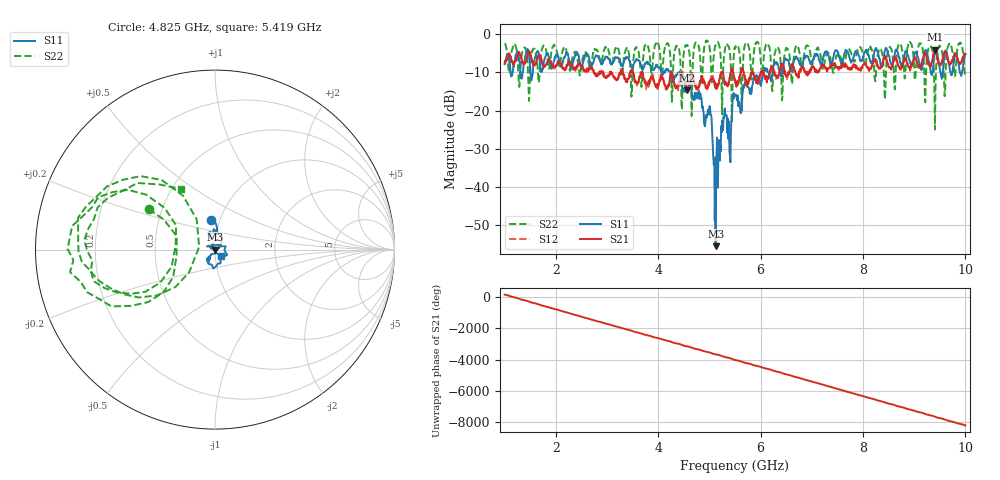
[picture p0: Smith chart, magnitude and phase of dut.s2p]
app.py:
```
import dash
import dash_core_components as dcc
import dash_html_components as html
from dash.dependencies import Input, Output, State
import plotly.graph_objects as go
import numpy as np


import skrf as rf
from skrf.time import detect_span


external_stylesheets = [
    "https://stackpath.bootstrapcdn.com/bootstrap/4.3.1/css/bootstrap.min.css",
    "https://codepen.io/chriddyp/pen/bWLwgP.css",
]

app = dash.Dash(__name__, external_stylesheets=external_stylesheets)
server = app.server


""" FYI  The device under test was made with this

air = rf.air
air.npoints =1001
dut = air.shunt_delay_load(.2,180)**\
    air.line(100)**\
    air.shunt_delay_load(.4,100)**\
    air.line(4000)**\
    air.shunt(air.load(.7))**\
    air.line(1000)**\
    air.impedance_mismatch(1,3)
    #**air.short()
dut.add_noise_polar(.01,3e-5)
"""
dut = rf.Network("dut.s2p")


# pull out some frequency info to set slider bounds on center/span
freq = dut.frequency
dt = freq.t_ns[1] - freq.t_ns[0]
t_max = freq.t_ns.max()


######## ## the APP
app.layout = html.Div(
    className="page",
    children=[
        html.Div(
            className="sub_page",
            children=[
                # html.Div(className='col-2'),
                html.Div(
                    children=[
                        html.H3(
                            className="product",
                            children=[
                                "Time Gating",
                                html.A(
                                    href="http://www.plotly.com",
                                    children=[
                                        html.Img(
                                            src=app.get_asset_url("dash.png"),
                                            style={"height": "50px", "float": "right"},
                                        )
                                    ],
                                ),
                                html.A(
                                    href="http://www.scikit-rf.org",
                                    children=[
                                        html.Img(
                                            src=app.get_asset_url(
                                                "powered_by_skrf.png"
                                            ),
                                            style={"height": "50px", "float": "right"},
                                        ),
                                    ],
                                ),
                            ],
                        ),
                        html.Div(
                            className="row",
                            children=[
                                html.Div(
                                    className="col-4",
                                    children=[
                                        html.Span(
                                            children=[
                                                html.Label(
                                                    "S-parameter: ", className="inline"
                                                ),
                                                dcc.RadioItems(
                                                    id="sparam-radio",
                                                    options=[
                                                        {
                                                            "label": "S11",
                                                            "value": "s11",
                                                        },
                                                        {
                                                            "label": "S21",
                                                            "value": "s21",
                                                        },
                                                        {
                                                            "label": "S12",
                                                            "value": "s12",
                                                        },
                                                        {
                                                            "label": "S22",
                                                            "value": "s22",
                                                        },
                                                    ],
                                                    value="s11",
                                                    labelStyle={
                                                        "display": "inline-block",
                                                        "margin": "6px",
                                                    },
                                                ),
                                            ]
                                        ),
                                        html.Label("Window Type: "),
                                        dcc.Dropdown(
                                            id="window-dropdown",
                                            options=[
                                                {"label": "kaiser", "value": "kaiser"},
                                                {"label": "boxcar", "value": "boxcar"},
                                                {
                                                    "label": "hamming",
                                                    "value": "hamming",
                                                },
                                            ],
                                            value="hamming",
                                        ),
                                        html.Label("Mode:  ", className="inline"),
                                        dcc.RadioItems(
                                            className="inline",
                                            id="mode-radio",
                                            options=[
                                                {"label": "pass", "value": "bandpass"},
                                                {"label": "stop", "value": "bandstop"},
                                            ],
                                            value="bandpass",
                                            labelStyle={
                                                "display": "inline-block",
                                                "margin": "6px",
                                            },
                                        ),
                                    ],
                                ),
                                html.Div(
                                    className="col",
                                    children=[
                                        html.Button(
                                            id="autogate-button", children="AutoGate"
                                        ),
                                        html.Label("Center Frequency(ns)"),
                                        dcc.Slider(
                                            id="center-slider",
                                            min=-t_max,
                                            max=t_max,
                                            value=0,
                                            step=dt * 10,
                                            marks={
                                                str(int(x)): str(int(x))
                                                for x in np.linspace(-t_max, t_max, 13)
                                            },
                                        ),
                                        html.Label("Span Frequency(ns)"),
                                        dcc.Slider(
                                            id="span-slider",
                                            min=0,
                                            max=t_max,
                                            value=10,
                                            step=dt * 10,
                                            marks={
                                                str(int(x)): str(int(x))
                                                for x in np.linspace(-t_max, t_max, 13)
                                            },
                                        ),
                                    ],
                                ),
                            ],
                        ),
                        html.Div(
                            [
                                dcc.Graph(
                                    id="time-graph", figure={"layout": {"height": 300}}
                                ),
                                dcc.Graph(
                                    id="freq-graph", figure={"layout": {"height": 400}}
                                ),
                            ]
                        ),
                    ]
                ),
            ],
        )
    ],
)


@app.callback(
    Output("time-graph", "figure"),
    Output("freq-graph", "figure"),
    Input("sparam-radio", "value"),
    Input("center-slider", "value"),
    Input("span-slider", "value"),
    Input("window-dropdown", "value"),
    Input("mode-radio", "value"),
)
def update_figure(sparam, center, span, window, mode):
    """
    Update figures given a change in s-parameter of interest, or
    gate parameters
    """

    if window == "kaiser":
        window = ("kaiser", 6)
    oneport = dut.__getattribute__(sparam)
    gated = oneport.time_gate(center=center, span=span, window=window, mode=mode)

    # time
    time_fig = go.Figure()
    time_fig.add_trace(
        go.Line(
            x=freq.t_ns, y=oneport.s_time_db.flatten(), line_color="#204a87", name="OG"
        )
    )

    time_fig.add_trace(go.Line(x=freq.t_ns, y=gated.s_time_db.flatten(), name="gated"))
    dat = oneport.s_time_db.flatten()
    span_height = (dat.min() * 1.5, dat.max() * 0.5)
    time_fig.update_layout(
        shapes=[
            dict(
                type="rect",
                xref="x",
                yref="y",
                x0=center - span / 2,
                y0=span_height[0],
                x1=center + span / 2,
                y1=span_height[1],
                fillcolor="lightgray",
                opacity=0.8,
                line_width=0,
                layer="below",
            )
        ]
    )

    time_fig.update_layout(
        legend=dict(yanchor="top", y=0.99, xanchor="left", x=0.01),
        margin=dict(l=20, r=20, t=40, b=20),
        title="Time Domain",
        xaxis_title="Time (ns)",
        yaxis_title="Magnitude (dB)",
        yaxis_range=(-80, 0),
    )

    # frequency
    freq_fig = go.Figure()
    freq_fig.add_trace(
        go.Line(
            x=freq.f_scaled, y=oneport.s_db.flatten(), name="OG", line_color="#204a87"
        )
    )

    freq_fig.add_trace(go.Line(x=freq.f_scaled, y=gated.s_db.flatten(), name="gated"))

    freq_fig.update_layout(
        legend=dict(yanchor="top", y=0.99, xanchor="left", x=0.01),
        margin=dict(l=20, r=20, t=40, b=20),
        title="Frequency",
        xaxis_title="Frequency (%s)" % dut.frequency.unit,
        yaxis_title="Magnitude (dB)",
        yaxis_range=(-60, 10),
    )
    return time_fig, freq_fig


@app.callback(
    Output("center-slider", "value"),
    Output("span-slider", "value"),
    Input("autogate-button", "n_clicks"),
    Input("sparam-radio", "value"),
)
def autogate(autogate, sparam):
    """
    Autogate chooses center/span values based on basic peak search
    """
    oneport = dut.__getattribute__(sparam)
    n = oneport.s_time_mag.argmax()
    center = oneport.frequency.t_ns[n]
    span = detect_span(oneport)
    return center, span


if __name__ == "__main__":
    app.run_server(debug=True)
```
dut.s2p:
!Created with skrf (http://scikit-rf.org).
# GHz S RI R 376.73031366686166
!freq ReS11 ImS11 ReS21 ImS21 ReS12 ImS12 ReS22 ImS22
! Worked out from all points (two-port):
!   1001 points, 1 GHz to 10 GHz, reference 376.73 ohm
!   highest |S21| = -4.08 dB at 9.406 GHz (marker M1); lowest = -14.8 dB at 4.564 GHz (marker M2)
!   |S21| within 3 dB of the highest: 1.212 GHz to 1.338 GHz (126.4 MHz wide, 9.91 % of centre); 9.351 GHz to 9.47 GHz (119 MHz wide, 1.26 % of centre)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
!   lowest |S11| = -55.4 dB at 5.122 GHz (marker M3), VSWR 1.00, Z = 375 + j0.269 ohm
!   |S11| at or under -10 dB: 4.233 GHz to 4.409 GHz (176.2 MHz wide, 4.08 % of centre); 4.413 GHz to 6.059 GHz (1.646 GHz wide, 31.4 % of centre); 6.148 GHz to 6.238 GHz (89.84 MHz wide, 1.45 % of centre)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
!   |S22| runs from -25.0 to -1.7 dB; largest |S21 - S12| = 0.052
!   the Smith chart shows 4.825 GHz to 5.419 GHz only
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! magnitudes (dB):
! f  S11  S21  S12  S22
! 1 GHz  -7.9  -7.5  -7.7  -2.5
! 1.486 GHz  -6.8  -4.6  -5.0  -14.8
! 4.564 GHz  -12.4  -14.8  -14.1  -3.0
! 5.005 GHz  -18.8  -12.3  -12.6  -3.7
! 5.122 GHz  -55.4  -14.0  -13.5  -3.1
! 5.5 GHz  -15.8  -12.0  -12.9  -3.9
! 8.425 GHz  -4.4  -6.2  -5.9  -17.1
! 8.92 GHz  -7.5  -9.6  -8.9  -2.2
! 9.406 GHz  -4.4  -4.1  -4.1  -25.0
! 9.694 GHz  -9.1  -8.1  -8.1  -2.5
! 10 GHz  -5.2  -5.3  -5.2  -10.7
